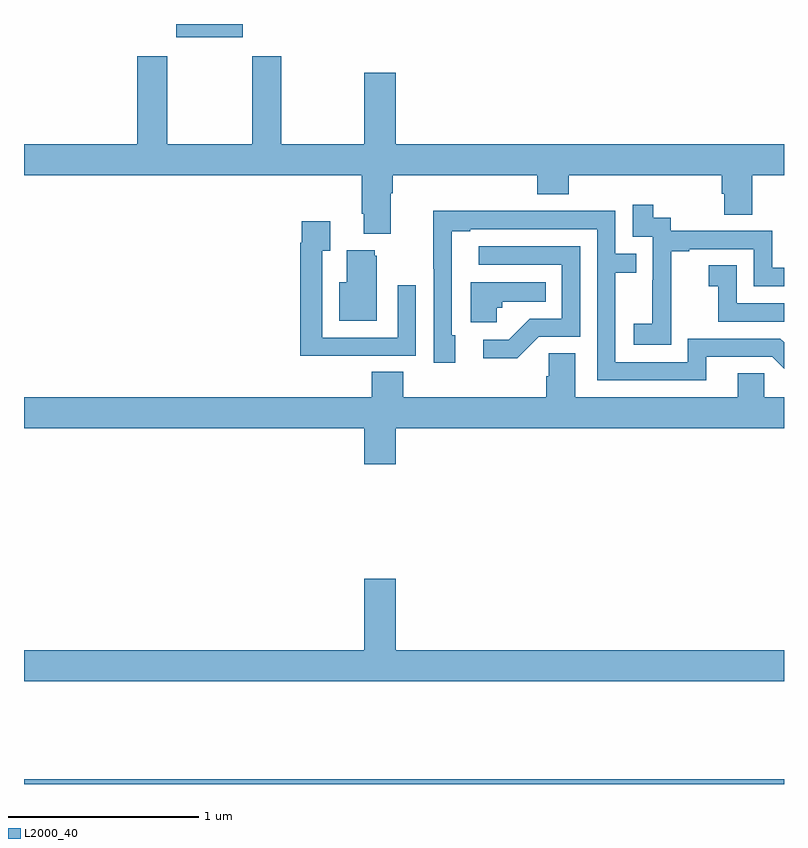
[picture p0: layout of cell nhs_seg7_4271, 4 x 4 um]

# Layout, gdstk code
import gdstk
lib = gdstk.Library(unit=1e-6, precision=1e-09)
def R(c, l, rs):  # rectangles x0, y0, x1, y1
    for r in rs: c.add(gdstk.rectangle(r[:2], r[2:], *l))
def P(c, l, *ps):  # polygons
    for p in ps: c.add(gdstk.Polygon(p, *l))
L2000_40 = (2000, 40)

nhs_seg7_4271 = lib.new_cell('nhs_seg7_4271')
R(nhs_seg7_4271, L2000_40, [(379,1076,383,1076.024), (379.802,1079.93,380.152,1080)])
P(nhs_seg7_4271, L2000_40, [(380.929,1079.108),(380.942,1079.108),(380.942,1079.204),(381.701,1079.204),(381.701,1079.105),(381.866,1079.105),(381.866,1079.204),(382.673,1079.204),(382.673,1079.106),(382.685,1079.106),(382.685,1078.996),(382.833,1078.996),(382.833,1079.204),(383,1079.204),(383,1079.368),(380.956,1079.368),(380.956,1079.743),(380.792,1079.743),(380.792,1079.368),(380.355,1079.368),(380.355,1079.83),(380.2,1079.83),(380.2,1079.368),(379.755,1079.368),(379.755,1079.83),(379.595,1079.83),(379.595,1079.368),(379,1079.368),(379,1079.204),(380.777,1079.204),(380.777,1079.002),(380.789,1079.002),(380.789,1078.895),(380.929,1078.895)],
  [(382.407,1078.519),(382.406,1078.519),(382.406,1078.803),(382.501,1078.803),(382.501,1078.815),(382.842,1078.815),(382.842,1078.62),(383,1078.62),(383,1078.716),(382.938,1078.716),(382.938,1078.911),(382.404,1078.911),(382.404,1078.98),(382.312,1078.98),(382.312,1079.05),(382.203,1079.05),(382.203,1078.881),(382.308,1078.881),(382.308,1078.652),(382.307,1078.652),(382.307,1078.423),(382.209,1078.423),(382.209,1078.313),(382.407,1078.313)],
  [(382.591,1078.248),(382.938,1078.248),(383,1078.186),(383,1078.324),(382.98,1078.344),(382.494,1078.344),(382.494,1078.221),(382.113,1078.221),(382.113,1078.69),(382.223,1078.69),(382.223,1078.791),(382.113,1078.791),(382.113,1079.016),(381.617,1079.016),(381.617,1079.018),(381.154,1079.018),(381.154,1078.711),(381.156,1078.711),(381.156,1078.218),(381.271,1078.218),(381.271,1078.362),(381.252,1078.362),(381.252,1078.908),(381.349,1078.908),(381.349,1078.92),(382.017,1078.92),(382.017,1078.125),(382.591,1078.125)],
  [(380.747,1078.254),(381.063,1078.254),(381.063,1078.624),(380.967,1078.624),(380.967,1078.35),(380.571,1078.35),(380.571,1078.807),(380.611,1078.807),(380.611,1078.963),(380.463,1078.963),(380.463,1078.85),(380.455,1078.85),(380.455,1078.253),(380.747,1078.253)],
  [(381.708,1078.353),(381.927,1078.353),(381.927,1078.83),(381.393,1078.83),(381.393,1078.734),(381.831,1078.734),(381.831,1078.449),(381.662,1078.449),(381.551,1078.338),(381.417,1078.338),(381.417,1078.241),(381.595,1078.241)],
  [(380.857,1078.779),(380.846,1078.779),(380.846,1078.81),(380.699,1078.81),(380.699,1078.642),(380.66,1078.642),(380.66,1078.439),(380.857,1078.439)],
  [(383,1078.53),(382.752,1078.53),(382.752,1078.729),(382.605,1078.729),(382.605,1078.619),(382.654,1078.619),(382.654,1078.434),(383,1078.434)],
  [(381.489,1078.506),(381.516,1078.506),(381.516,1078.538),(381.746,1078.538),(381.746,1078.642),(381.35,1078.642),(381.35,1078.43),(381.489,1078.43)],
  [(380.956,1077.872),(383,1077.872),(383,1078.036),(382.896,1078.036),(382.896,1078.163),(382.757,1078.163),(382.757,1078.036),(381.901,1078.036),(381.901,1078.268),(381.762,1078.268),(381.762,1078.145),(381.749,1078.145),(381.749,1078.036),(380.996,1078.036),(380.996,1078.169),(380.831,1078.169),(380.831,1078.036),(379,1078.036),(379,1077.872),(380.792,1077.872),(380.792,1077.684),(380.956,1077.684)],
  [(383,1076.704),(380.956,1076.704),(380.956,1077.079),(380.792,1077.079),(380.792,1076.704),(379,1076.704),(379,1076.54),(383,1076.54)])

lib.write_gds('nhs_seg7_4271.gds')
